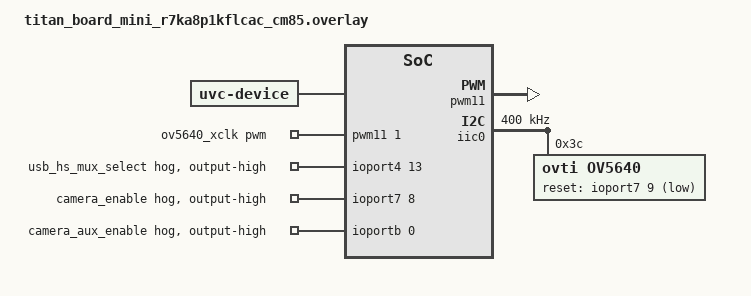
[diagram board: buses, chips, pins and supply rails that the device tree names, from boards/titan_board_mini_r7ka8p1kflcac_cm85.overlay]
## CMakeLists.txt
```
# SPDX-License-Identifier: Apache-2.0

cmake_minimum_required(VERSION 3.20.0)

find_package(Zephyr REQUIRED HINTS $ENV{ZEPHYR_BASE})
project(titan_board_mini_uvc_webcam)

include(cmake/titan_zephyr_overrides.cmake)
titan_uvc_apply_zephyr_overrides()

include(${ZEPHYR_BASE}/samples/subsys/usb/common/common.cmake)

target_sources(app PRIVATE src/main.c)
```

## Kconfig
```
# SPDX-License-Identifier: Apache-2.0

source "samples/subsys/usb/common/Kconfig.sample_usbd"

menu "Titan Board Mini UVC webcam configuration"

config APP_VIDEO_MAX_RESOLUTIONS
	int "Maximum number of advertised resolutions"
	default 5
	help
	  Control the maximum number of resolutions advertised to the USB host
	  when the selected video source reports a range of resolutions.

endmenu

source "Kconfig.zephyr"
```

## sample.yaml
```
sample:
  name: Titan Board Mini UVC webcam
  description: Stream Titan Board Mini OV5640 MIPI CSI/VIN frames as USB UVC video.
common:
  platform_allow:
    - titan_board_mini/r7ka8p1kflcac/cm85
  integration_platforms:
    - titan_board_mini/r7ka8p1kflcac/cm85
tests:
  sample.subsys.usb.titan_board_mini_uvc_webcam:
    tags:
      - usb
      - video
      - uvc
    build_only: true
```

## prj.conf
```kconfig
CONFIG_LOG=y
CONFIG_POLL=y
CONFIG_SAMPLE_USBD_PID=0x0012
CONFIG_SAMPLE_USBD_PRODUCT="Titan Board Mini UVC"
CONFIG_UDC_BUF_POOL_SIZE=2048
CONFIG_UDC_DRIVER_LOG_LEVEL_WRN=y
CONFIG_USBD_LOG_LEVEL_WRN=y
CONFIG_USBD_VIDEO_CLASS=y
CONFIG_USBD_VIDEO_LOG_LEVEL_WRN=y
CONFIG_USBD_VIDEO_NUM_BUFS=320
CONFIG_USB_DEVICE_STACK_NEXT=y
CONFIG_CDC_ACM_SERIAL_INITIALIZE_AT_BOOT=n
CONFIG_VIDEO=y
CONFIG_VIDEO_OV5640=y
CONFIG_VIDEO_TITAN_RA_MIPI_CSI=y
CONFIG_TITAN_BOARD_MINI_OV5640_XCLK=y
CONFIG_VIDEO_BUFFER_POOL_NUM_MAX=3
CONFIG_VIDEO_BUFFER_POOL_HEAP_SIZE=524288
CONFIG_VIDEO_BUFFER_POOL_ALIGN=128
CONFIG_VIDEO_BUFFER_POOL_ZEPHYR_REGION=y
CONFIG_VIDEO_BUFFER_POOL_ZEPHYR_REGION_NAME="SDRAM"
CONFIG_VIDEO_LOG_LEVEL_WRN=y
CONFIG_MAIN_STACK_SIZE=4096
```

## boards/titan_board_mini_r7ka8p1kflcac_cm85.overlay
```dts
/*
 * Copyright (c) 2026 RT-Thread
 * SPDX-License-Identifier: Apache-2.0
 */

#include <zephyr/dt-bindings/gpio/gpio.h>
#include <zephyr/dt-bindings/pwm/pwm.h>
#include <zephyr/dt-bindings/video/video-interfaces.h>

/ {
	chosen {
		zephyr,camera = &mipi_csi_vin;
	};

	uvc: uvc {
		compatible = "zephyr,uvc-device";
	};

	/* Verified SCCB/runtime route: GPT11B on P5.00 provides OV5640 XCLK. */
	ov5640_xclk: ov5640-xclk {
		compatible = "pwm-clock";
		#clock-cells = <1>;
		pwms = <&pwm11 1 PWM_HZ(25000000) PWM_POLARITY_NORMAL>;
		clock-frequency = <25000000>;
		pwm-on-delay = <1000>;
		status = "okay";
	};

	mipi_csi_vin: mipi-csi-vin {
		compatible = "titan,ra8p1-mipi-csi-vin";
		interrupt-parent = <&nvic>;
		interrupts = <24 12>, <25 12>, <26 12>, <27 12>, <28 12>, <29 12>, <30 12>;
		interrupt-names = "vin_status", "vin_error", "csi_rx", "csi_dl", "csi_vc", "csi_pm", "csi_gst";
		status = "okay";

		port {
			mipi_csi2_ep_in: endpoint {
				remote-endpoint-label = "ov5640_mipi_ep_out";
				bus-type = <VIDEO_BUS_TYPE_CSI2_DPHY>;
				data-lanes = <1 2>;
			};
		};
	};
};

&ioport4 {
	/*
	 * The Type-C device connector shares D+/D- through TS3USB221A. USB_CH_SEL
	 * on P4.13 selects the USBHS pair used by zephyr_udc0.
	 */
	usb_hs_mux_select: usb-hs-mux-select {
		gpio-hog;
		gpios = <13 GPIO_ACTIVE_HIGH>;
		output-high;
	};
};

&ioport7 {
	/* Reference BSP drives P7.08 and P7.09 high before reading OV5640 ID. */
	camera_enable: camera-enable {
		gpio-hog;
		gpios = <8 GPIO_ACTIVE_HIGH>;
		output-high;
	};
};

&ioportb {
	/* Reference BSP leaves P11.00 high during camera initialization. */
	camera_aux_enable: camera-aux-enable {
		gpio-hog;
		gpios = <0 GPIO_ACTIVE_HIGH>;
		output-high;
	};
};

&pwm11 {
	pinctrl-0 = <&pwm11_camera_xclk_default>;
	pinctrl-names = "default";
	interrupts = <38 12>, <39 12>;
	interrupt-names = "gtioca", "overflow";
	status = "okay";
};

&iic0 {
	clock-frequency = <I2C_BITRATE_FAST>;
	pinctrl-0 = <&iic0_camera_default>;
	pinctrl-names = "default";
	status = "okay";

	ov5640: ov5640@3c {
		compatible = "ovti,ov5640";
		reg = <0x3c>;
		reset-gpios = <&ioport7 9 GPIO_ACTIVE_LOW>;
		port {
			ov5640_mipi_ep_out: endpoint {
				remote-endpoint-label = "mipi_csi2_ep_in";
				bus-type = <VIDEO_BUS_TYPE_CSI2_DPHY>;
				data-lanes = <1 2>;
			};
		};
	};
};
```

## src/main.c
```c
/*
 * Copyright (c) 2025 tinyVision.ai Inc.
 *
 * SPDX-License-Identifier: Apache-2.0
 * Copyright (c) 2026 RT-Thread
 */

#include <stdint.h>
#include <stdlib.h>

#include <sample_usbd.h>

#include <zephyr/device.h>
#include <zephyr/usb/usbd.h>
#include <zephyr/drivers/video.h>
#include <zephyr/logging/log.h>
#include <zephyr/usb/class/usbd_uvc.h>
#include <zephyr/sys/util.h>
#include <zephyr/video/video.h>

LOG_MODULE_REGISTER(uvc_sample, LOG_LEVEL_INF);

const static struct device *const uvc_dev = DEVICE_DT_GET(DT_NODELABEL(uvc));
const static struct device *const video_dev = DEVICE_DT_GET(DT_CHOSEN(zephyr_camera));

/* Format capabilities of video_dev, used everywhere through the sample */
static struct video_caps video_caps = {.type = VIDEO_BUF_TYPE_OUTPUT};

#define TITAN_UVC_FRAME_MAX_SIZE (320U * 240U * 2U)

/* Pixel formats present in one of the UVC 1.5 standard */
static bool app_is_supported_format(uint32_t pixfmt)
{
	return pixfmt == VIDEO_PIX_FMT_JPEG ||
	       pixfmt == VIDEO_PIX_FMT_YUYV ||
	       pixfmt == VIDEO_PIX_FMT_RGB565 ||
	       pixfmt == VIDEO_PIX_FMT_NV12 ||
	       pixfmt == VIDEO_PIX_FMT_H264;
}

static bool app_has_supported_format(void)
{
	const struct video_caps *const caps = &video_caps;
	const struct video_format_cap *const fmts = caps->format_caps;

	for (int i = 0; fmts[i].pixelformat != 0; i++) {
		if (app_is_supported_format(fmts[i].pixelformat)) {
			return true;
		}
	}

	return false;
}

static int app_add_format(uint32_t pixfmt, uint32_t width, uint32_t height, bool has_sup_fmts)
{
	struct video_format fmt = {
		.pixelformat = pixfmt,
		.width = width,
		.height = height,
		.type = VIDEO_BUF_TYPE_OUTPUT,
	};
	int ret;

	/* If the system has any standard pixel format, only propose them to the host */
	if (has_sup_fmts && !app_is_supported_format(pixfmt)) {
		return 0;
	}

	/* Set the format to get the size */
	ret = video_set_compose_format(video_dev, &fmt);
	if (ret != 0) {
		LOG_ERR("Could not set the format of %s to %s %ux%u (size %u)",
			video_dev->name, VIDEO_FOURCC_TO_STR(fmt.pixelformat),
			fmt.width, fmt.height, fmt.size);
		return ret;
	}

	if (fmt.size > TITAN_UVC_FRAME_MAX_SIZE) {
		LOG_WRN("Skipping format %ux%u", fmt.width, fmt.height);
		return 0;
	}

	ret = uvc_device_add_format(uvc_dev, &fmt);
	if (ret == -ENOMEM) {
		/* If there are too many formats, ignore the error, just list fewer formats */
		return 0;
	}
	return ret;
}

struct video_resolution {
	uint16_t width;
	uint16_t height;
};

static const struct video_resolution video_common_fmts[] = {
	{ .width = 160,		.height = 120,	},	/* QQVGA */
	{ .width = 320,		.height = 240,	},	/* QVGA */
	{ .width = 640,		.height = 480,	},	/* VGA */
	{ .width = 854,		.height = 480,	},	/* WVGA */
	{ .width = 800,		.height = 600,	},	/* SVGA */
	{ .width = 1280,	.height = 720,	},	/* HD */
	{ .width = 1280,	.height = 1024,	},	/* SXGA */
	{ .width = 1920,	.height = 1080,	},	/* FHD */
	{ .width = 3840,	.height = 2160,	},	/* UHD */
};

/* Submit to UVC only the formats expected to be working (enough memory for the size, etc.) */
static int app_add_filtered_formats(void)
{
	const bool has_sup_fmts = app_has_supported_format();
	int ret;

	for (int i = 0; video_caps.format_caps[i].pixelformat != 0; i++) {
		const struct video_format_cap *vcap = &video_caps.format_caps[i];
		const uint32_t pixelformat = vcap->pixelformat;
		int count = 1;

		ret = app_add_format(pixelformat, vcap->width_min, vcap->height_min,
				     has_sup_fmts);
		if (ret != 0) {
			return ret;
		}

		if (vcap->width_min != vcap->width_max || vcap->height_min != vcap->height_max) {
			ret = app_add_format(pixelformat, vcap->width_max, vcap->height_max,
					     has_sup_fmts);
			if (ret != 0) {
				return ret;
			}

			count++;
		}

		if (vcap->width_step == 0 && vcap->height_step == 0) {
			continue;
		}

		/* RANGE Resolution processing */
		for (int j = 0; j < ARRAY_SIZE(video_common_fmts); j++) {
			if (count >= CONFIG_APP_VIDEO_MAX_RESOLUTIONS) {
				break;
			}

			if (!IN_RANGE(video_common_fmts[j].width,
				      vcap->width_min, vcap->width_max) ||
			    !IN_RANGE(video_common_fmts[j].height,
				      vcap->height_min, vcap->height_max)) {
				continue;
			}

			if ((video_common_fmts[j].width - vcap->width_min) % vcap->width_step ||
			    (video_common_fmts[j].height - vcap->height_min) % vcap->height_step) {
				continue;
			}

			ret = app_add_format(pixelformat, video_common_fmts[j].width,
					     video_common_fmts[j].height, has_sup_fmts);
			if (ret != 0) {
				return ret;
			}

			count++;
		}
	}

	return 0;
}

int main(void)
{
	struct usbd_context *sample_usbd;
	struct video_buffer *vbuf;
	struct video_format fmt = {0};
	uint32_t uvc_buf_count = CONFIG_VIDEO_BUFFER_POOL_NUM_MAX;
	struct video_frmival frmival = {0};
	struct k_poll_signal sig;
	struct k_poll_event evt[1];
	k_timeout_t timeout = K_MSEC(1);
	int ret;

	if (!device_is_ready(video_dev)) {
		LOG_ERR("video source %s failed to initialize", video_dev->name);
		return -ENODEV;
	}

	ret = video_get_caps(video_dev, &video_caps);
	if (ret != 0) {
		LOG_ERR("Unable to retrieve video capabilities");
		return ret;
	}

	/* Initialize control descriptors from the video device */
	uvc_device_init(uvc_dev, video_dev);

	/* Fill the table of formats */
	ret = app_add_filtered_formats();
	if (ret != 0) {
		return ret;
	}

	/* Prepare the UVC device for being run */
	ret = uvc_device_enable(uvc_dev);
	if (ret != 0) {
		return ret;
	}

	sample_usbd = sample_usbd_init_device(NULL);
	if (sample_usbd == NULL) {
		return -ENODEV;
	}

	ret = usbd_enable(sample_usbd);
	if (ret != 0) {
		return ret;
	}

	LOG_INF("Waiting the host to select the video format");

	while (true) {
		fmt.type = VIDEO_BUF_TYPE_INPUT;

		ret = video_get_format(uvc_dev, &fmt);
		if (ret == 0) {
			break;
		}
		if (ret != -EAGAIN) {
			LOG_ERR("Failed to get the video format");
			return ret;
		}

		k_sleep(K_MSEC(10));
	}

	ret = video_get_frmival(uvc_dev, &frmival);
	if (ret != 0) {
		LOG_ERR("Failed to get the video frame interval");
		return ret;
	}

	LOG_INF("The host selected format '%s' %ux%u at frame interval %u/%u",
		VIDEO_FOURCC_TO_STR(fmt.pixelformat), fmt.width, fmt.height,
		frmival.numerator, frmival.denominator);

	fmt.type = VIDEO_BUF_TYPE_OUTPUT;

	ret = video_set_compose_format(video_dev, &fmt);
	if (ret != 0) {
		LOG_ERR("Could not set the format of %s to %s %ux%u (size %u)",
			video_dev->name, VIDEO_FOURCC_TO_STR(fmt.pixelformat),
			fmt.width, fmt.height, fmt.size);
		return ret;
	}

	ret = video_set_frmival(video_dev, &frmival);
	if (ret != 0) {
		LOG_WRN("Could not set the framerate of %s", video_dev->name);
	}

	LOG_INF("Preparing %u SDRAM video buffers of %u bytes", uvc_buf_count, fmt.size);

	if (fmt.size > TITAN_UVC_FRAME_MAX_SIZE) {
		LOG_ERR("Selected frame size %u exceeds SDRAM buffer size %u", fmt.size,
			TITAN_UVC_FRAME_MAX_SIZE);
		return -ENOMEM;
	}

	for (int i = 0; i < uvc_buf_count; i++) {
		vbuf = video_buffer_aligned_alloc(fmt.size, CONFIG_VIDEO_BUFFER_POOL_ALIGN,
						 K_NO_WAIT);
		if (vbuf == NULL) {
			LOG_ERR("Could not allocate SDRAM video buffer %d", i);
			return -ENOMEM;
		}

		vbuf->type = VIDEO_BUF_TYPE_OUTPUT;

		ret = video_enqueue(video_dev, vbuf);
		if (ret != 0) {
			LOG_ERR("Could not enqueue video buffer");
			return ret;
		}
	}

	LOG_DBG("Preparing signaling for %s input/output", video_dev->name);

	k_poll_signal_init(&sig);
	k_poll_event_init(&evt[0], K_POLL_TYPE_SIGNAL, K_POLL_MODE_NOTIFY_ONLY, &sig);

	ret = video_set_signal(video_dev, &sig);
	if (ret != 0) {
		LOG_WRN("Failed to setup the signal on %s output endpoint", video_dev->name);
		timeout = K_MSEC(1);
	}

	ret = video_set_signal(uvc_dev, &sig);
	if (ret != 0) {
		LOG_ERR("Failed to setup the signal on %s input endpoint", uvc_dev->name);
		return ret;
	}

	LOG_INF("Starting the video transfer");

	ret = video_stream_start(video_dev, VIDEO_BUF_TYPE_OUTPUT);
	if (ret != 0) {
		LOG_ERR("Failed to start %s", video_dev->name);
		return ret;
	}

	while (true) {
		ret = k_poll(evt, ARRAY_SIZE(evt), timeout);
		if (ret != 0 && ret != -EAGAIN) {
			LOG_ERR("Poll exited with status %d", ret);
			return ret;
		}

		ret = video_transfer_buffer(video_dev, uvc_dev, VIDEO_BUF_TYPE_OUTPUT,
						    VIDEO_BUF_TYPE_INPUT, K_NO_WAIT);
		if (ret != 0 && ret != -EAGAIN) {
			LOG_ERR("Failed to transfer from %s to %s",
				video_dev->name, uvc_dev->name);
			return ret;
		}

		ret = video_transfer_buffer(uvc_dev, video_dev, VIDEO_BUF_TYPE_INPUT,
						    VIDEO_BUF_TYPE_OUTPUT, K_NO_WAIT);
		if (ret != 0 && ret != -EAGAIN) {
			LOG_WRN("Failed to return buffer from %s to %s: %d",
				uvc_dev->name, video_dev->name, ret);
		}

		k_poll_signal_reset(&sig);
	}

	return 0;
}
```
